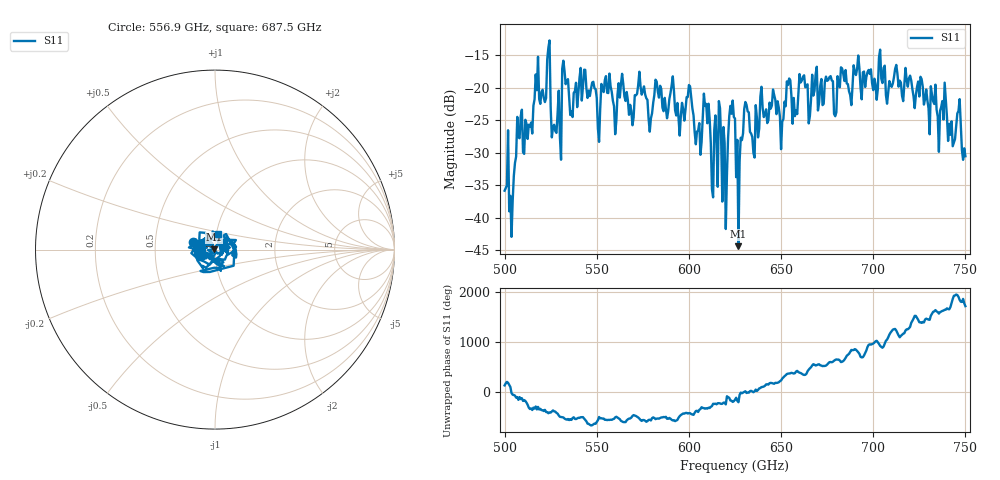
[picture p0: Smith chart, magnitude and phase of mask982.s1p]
!Created with skrf (http://scikit-rf.org).
# GHz S MA R 50.0
!freq magS11 angS11
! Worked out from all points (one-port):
!   401 points, 500 GHz to 750 GHz, reference 50 ohm
!   lowest |S11| = -44.4 dB at 626.9 GHz (marker M1), VSWR 1.01, Z = 49.5 + j0.251 ohm
!   |S11| at or under -10 dB: start of sweep to end of sweep
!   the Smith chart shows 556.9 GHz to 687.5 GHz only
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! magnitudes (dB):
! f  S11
! 500 GHz  -35.8
! 503.8 GHz  -42.9
! 508.1 GHz  -27.7
! 513.8 GHz  -26.0
! 516.9 GHz  -17.9
! 523.8 GHz  -13.8
! 526.9 GHz  -25.7
! 531.2 GHz  -17.0
! 562.5 GHz  -21.5
! 593.8 GHz  -22.3
! 600 GHz  -19.6
! 605 GHz  -26.6
! 609.4 GHz  -22.5
! 612.5 GHz  -35.6
! 617.5 GHz  -28.2
! 619.4 GHz  -28.5
! 622.5 GHz  -22.8
! 625 GHz  -24.7
! 626.9 GHz  -44.4
! 631.2 GHz  -22.6
! 634.4 GHz  -27.5
! 640 GHz  -23.1
! 656.2 GHz  -25.5
! 687.5 GHz  -21.1
! 718.8 GHz  -19.8
! 743.1 GHz  -29.0
! 746.2 GHz  -23.6
! 750 GHz  -30.5
